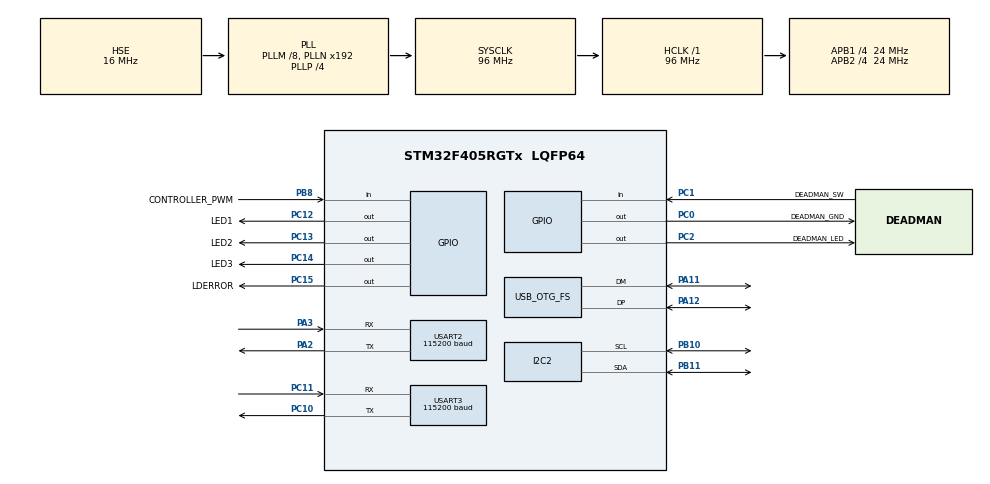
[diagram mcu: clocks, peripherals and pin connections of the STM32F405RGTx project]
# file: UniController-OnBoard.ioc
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Mcu.Family=STM32F4
Mcu.Name=STM32F405RGTx
Mcu.Package=LQFP64
NVIC.OTG_FS_IRQn=true\:0\:0\:false\:false\:true\:false\:true\:true
NVIC.PriorityGroup=NVIC_PRIORITYGROUP_4
NVIC.TIM1_UP_TIM10_IRQn=true\:0\:0\:false\:false\:true\:true\:true\:true
NVIC.TIM2_IRQn=true\:0\:0\:false\:false\:true\:true\:true\:true
NVIC.USART2_IRQn=true\:0\:0\:false\:false\:true\:true\:true\:true
NVIC.USART3_IRQn=true\:0\:0\:false\:false\:true\:true\:true\:true
PA11.Mode=Device_Only
PA11.Signal=USB_OTG_FS_DM
PA12.Mode=Device_Only
PA12.Signal=USB_OTG_FS_DP
PA2.Mode=Asynchronous
PA2.Signal=USART2_TX
PA3.Mode=Asynchronous
PA3.Signal=USART2_RX
PB10.Mode=I2C
PB10.Signal=I2C2_SCL
PB11.Mode=I2C
PB11.Signal=I2C2_SDA
PB8.GPIO_Label=CONTROLLER_PWM
PB8.GPIO_PuPd=GPIO_PULLDOWN
PB8.Signal=GPIO_Input
PC0.GPIO_Label=DEADMAN_GND
PC0.Signal=GPIO_Output
PC1.GPIO_Label=DEADMAN_SW
PC1.GPIO_PuPd=GPIO_PULLUP
PC1.Signal=GPIO_Input
PC10.Mode=Asynchronous
PC10.Signal=USART3_TX
PC11.Mode=Asynchronous
PC11.Signal=USART3_RX
PC12.GPIO_Label=LED1
PC12.Signal=GPIO_Output
PC13-ANTI_TAMP.GPIO_Label=LED2
PC13-ANTI_TAMP.Signal=GPIO_Output
PC14-OSC32_IN.GPIO_Label=LED3
PC14-OSC32_IN.Signal=GPIO_Output
PC15-OSC32_OUT.GPIO_Label=LDERROR
PC15-OSC32_OUT.Signal=GPIO_Output
PC2.GPIO_Label=DEADMAN_LED
PC2.Signal=GPIO_Output
PH0-OSC_IN.Mode=HSE-External-Oscillator
PH0-OSC_IN.Signal=RCC_OSC_IN
PH1-OSC_OUT.Mode=HSE-External-Oscillator
PH1-OSC_OUT.Signal=RCC_OSC_OUT
ProjectManager.HeapSize=0x200
ProjectManager.StackSize=0x400
ProjectManager.TargetToolchain=STM32CubeIDE
RCC.48MHZClocksFreq_Value=48000000
RCC.AHBFreq_Value=96000000
RCC.APB1CLKDivider=RCC_HCLK_DIV4
RCC.APB1Freq_Value=24000000
RCC.APB1TimFreq_Value=48000000
RCC.APB2CLKDivider=RCC_HCLK_DIV4
RCC.APB2Freq_Value=24000000
RCC.APB2TimFreq_Value=48000000
RCC.CortexFreq_Value=96000000
RCC.HCLKFreq_Value=96000000
RCC.HSE_VALUE=16000000
RCC.HSI_VALUE=16000000
RCC.LSE_VALUE=32768
RCC.PLLM=8
RCC.PLLP=RCC_PLLP_DIV4
RCC.PLLQ=8
RCC.SYSCLKFreq_VALUE=96000000
RCC.SYSCLKSource=RCC_SYSCLKSOURCE_PLLCLK
RCC.VCOOutputFreq_Value=384000000
TIM1.AutoReloadPreload=TIM_AUTORELOAD_PRELOAD_ENABLE
TIM1.Period=1000-1
TIM1.Prescaler=48
TIM2.AutoReloadPreload=TIM_AUTORELOAD_PRELOAD_ENABLE
TIM2.Period=100-1
TIM2.Prescaler=48
USART2.BaudRate=115200
USART2.OverSampling=UART_OVERSAMPLING_8
USART2.Parity=PARITY_NONE
USART2.VirtualMode=VM_ASYNC
USART2.WordLength=WORDLENGTH_8B
USART3.BaudRate=115200
USART3.OverSampling=UART_OVERSAMPLING_8
USART3.Parity=PARITY_NONE
USART3.VirtualMode=VM_ASYNC
USART3.WordLength=WORDLENGTH_8B
USB_DEVICE.CLASS_NAME_FS=CDC
USB_DEVICE.VirtualMode-CDC_FS=Cdc
USB_DEVICE.VirtualModeFS=Cdc_FS
USB_OTG_FS.VirtualMode=Device_Only
VP_TIM1_VS_ClockSourceINT.Mode=Internal
VP_TIM2_VS_ClockSourceINT.Mode=Internal
VP_USB_DEVICE_VS_USB_DEVICE_CDC_FS.Mode=CDC_FS
board=custom

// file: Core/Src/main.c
/* USER CODE BEGIN Header */
/**
  ******************************************************************************
  * @file           : main.c
  * @brief          : Main program body
  ******************************************************************************
  * @attention
  *
  * Copyright (c) 2023 STMicroelectronics.
  * All rights reserved.
  *
  * This software is licensed under terms that can be found in the LICENSE file
  * in the root directory of this software component.
  * If no LICENSE file comes with this software, it is provided AS-IS.
  *
  ******************************************************************************
  */
/* USER CODE END Header */
#include "main.h"
#include "usb_device.h"

/* USER CODE BEGIN Includes */

#include "usbd_cdc_if.h"

#include <stdbool.h>
#include <stdio.h>
#include <math.h>

#include "vesc_com.h"
#include "vesc_current_reg.h"
#include "queue.h"
#include "ctrl/common.h"
#include "ctrl/regulator.h"
#include "ctrl/kalman_filter.h"
// #include "buf.h"

/* USER CODE END Includes */

I2C_HandleTypeDef hi2c2;

TIM_HandleTypeDef htim1;
TIM_HandleTypeDef htim2;

UART_HandleTypeDef huart2;
UART_HandleTypeDef huart3;

/* USER CODE BEGIN PV */

#define TIM_REALTIME htim1
#define TIM_SCHEDULER htim2

#define UART_VESC_PITCH huart2
#define UART_IRQ_VESC_PITCH USART2_IRQn

#define UART_VESC_ROLL huart3
#define UART_IRQ_VESC_ROLL USART3_IRQn

// #define UART_VESC_ROLL huart3
#define I2C_MPU hi2c2

uint16_t MPU_ADDR = 0x68;

/* USER CODE END PV */

void SystemClock_Config(void);
static void MX_GPIO_Init(void);
static void MX_USART2_UART_Init(void);
static void MX_I2C2_Init(void);
static void MX_TIM1_Init(void);
static void MX_TIM2_Init(void);
static void MX_USART3_UART_Init(void);
/* USER CODE BEGIN PFP */

void dead_mans_switch_update_led();

/* USER CODE END PFP */

/* USER CODE BEGIN 0 */

static Queue MAIN_QUEUE;

#define VESC_PITCH_ID 1
#define VESC_ROLL_ID 2

static VESC vesc_pitch;
static VESC vesc_roll;

VESC_Current_Reg vcr_pitch = (VESC_Current_Reg) {
	.k_p = 1.,
};
VESC_Current_Reg vcr_roll = (VESC_Current_Reg) {
	.k_p = 0.1,
};

uint32_t ms_counter;

// All in Hz
#define SCHEDULER_FREQ 10000

#define ACC_FREQ 100
#define VESC_FREQ 50
#define DUMP_FREQ 100
#define STEP_FREQ 100

// (will take many hours to overflow)
uint32_t scheduler_ctr = 0;

float controller_lp_tau = 0.3;
float controller_val_pitch = 0;

void HAL_TIM_PeriodElapsedCallback(TIM_HandleTypeDef *htim) {
	if (htim == &TIM_REALTIME) { // TIM_REALTIME ticks once every us, elapses once every ms
		ms_counter++;
		dead_mans_switch_update_led();
	}
	if (htim == &TIM_SCHEDULER ) {
		scheduler_ctr++;

		if (scheduler_ctr % (SCHEDULER_FREQ / ACC_FREQ) == 0) {
			queue_put(&MAIN_QUEUE, (Message) { .ty = MSG_REQ_ACC });
		}
		if (scheduler_ctr % (SCHEDULER_FREQ / VESC_FREQ) == 0) {
			queue_put(&MAIN_QUEUE, (Message) { .ty = MSG_REQ_VESC });
			queue_put(&MAIN_QUEUE, (Message) { .ty = MSG_FLUSH_VESC });
		}
		if (scheduler_ctr % (SCHEDULER_FREQ / DUMP_FREQ) == 0) {
			queue_put(&MAIN_QUEUE, (Message) { .ty = MSG_SEND_DEBUG });
		}
		if (scheduler_ctr % (SCHEDULER_FREQ / STEP_FREQ) == 0) {
			queue_put(&MAIN_QUEUE, (Message) { .ty = MSG_TIME_STEP });
		}

		float controller_val_instant = HAL_GPIO_ReadPin(CONTROLLER_PWM_GPIO_Port, CONTROLLER_PWM_Pin);
		controller_val_pitch = (1 - 1 / (controller_lp_tau * SCHEDULER_FREQ)) * controller_val_pitch
				+ (1 / (controller_lp_tau * SCHEDULER_FREQ)) * controller_val_instant;
	}
}

float controller_mapped() {
	if (controller_val_pitch < 0.04) {
		return 0;
	}
	return (controller_val_pitch - 0.1) / (0.033333);
}

// This will overflow after 2^32/10^6s ≈ 4300s ≈ 1h11m
// Overflow should be handled by the get_dt and reset_dt
uint32_t us_since_startup() {
	uint32_t us_counter = ms_counter * 1000;
	uint32_t us_timer = TIM_REALTIME.Instance->CNT;
	return us_counter + us_timer;
}

uint32_t last_step = 0;
uint32_t get_and_reset_dt_us() {
	uint32_t now = us_since_startup();
	uint32_t dt = now - last_step; // If now < last_step, then we have overflowed. This should still get the right value
	last_step = now;
	return dt;
}

void HAL_UART_TxCpltCallback(UART_HandleTypeDef *huart) {
	if (huart == &UART_VESC_PITCH) {
		vesc_uart_cb_txcplt(&vesc_pitch, huart);
	}
	if (huart == &UART_VESC_ROLL) {
		vesc_uart_cb_txcplt(&vesc_roll, huart);
	}
}

void HAL_UART_RxCpltCallback(UART_HandleTypeDef *huart) {
	if (huart == &UART_VESC_PITCH) {
		vesc_uart_cb_rxcplt(&vesc_pitch, huart);
	}
	if (huart == &UART_VESC_ROLL) {
		vesc_uart_cb_rxcplt(&vesc_roll, huart);
	}
}

int uart_error_count_pitch = 0;
int uart_error_count_roll = 0;

void HAL_UART_ErrorCallback(UART_HandleTypeDef *huart) {
	char *errname = NULL;
	if (huart->ErrorCode & HAL_UART_ERROR_PE) {
		errname = "ERR PARITY\r\n";
	}
	if (huart->ErrorCode & HAL_UART_ERROR_NE) {
		errname = "ERR NOISE\r\n";
	}
	if (huart->ErrorCode & HAL_UART_ERROR_FE) {
		errname = "ERR FRAME\r\n";
	}
	if (huart->ErrorCode & HAL_UART_ERROR_ORE) {
		errname = "ERR OVERRUN\r\n";
	}
	if (huart->ErrorCode & HAL_UART_ERROR_DMA) {
		errname = "ERR DMA\r\n";
	}
	if (errname != NULL) {
		CDC_Transmit_FS((uint8_t *) errname, strlen(errname));
	}

	if (huart == &UART_VESC_PITCH) {

		uart_error_count_pitch++;
		vesc_pitch.cooldown = 1;

		HAL_UART_Abort_IT(&UART_VESC_PITCH);
		__HAL_UART_CLEAR_OREFLAG(&UART_VESC_PITCH);

		vesc_pitch.tx_waiting = false;
		vesc_pitch.rx_queued = false;
	}
	if (huart == &UART_VESC_ROLL) {
		uart_error_count_roll++;
		vesc_roll.cooldown = 1;

		HAL_UART_Abort_IT(&UART_VESC_ROLL);
		__HAL_UART_CLEAR_OREFLAG(&UART_VESC_ROLL);

		vesc_roll.tx_waiting = false;
		vesc_roll.rx_queued = false;
	}
	// abort_vesc();
}

void abort_vesc() {
	HAL_UART_Abort_IT(&UART_VESC_PITCH);
	vesc_pitch.tx_waiting = false;
	vesc_pitch.rx_queued = false;

	HAL_UART_Abort_IT(&UART_VESC_ROLL);
	vesc_roll.tx_waiting = false;
	vesc_roll.rx_queued = false;
/*
	vesc_start_recv(&vesc_pitch);
	vesc_start_recv(&vesc_roll);
*/
}

bool dead_mans_switch_activated() {
	HAL_GPIO_WritePin(DEADMAN_GND_GPIO_Port, DEADMAN_GND_Pin, GPIO_PIN_RESET);
	return HAL_GPIO_ReadPin(DEADMAN_SW_GPIO_Port, DEADMAN_SW_Pin) == GPIO_PIN_RESET;
}

// QRV
const bool morse_table[] = {
	1, 1, 1, 0, 1, 1, 1, 0, 1, 0, 1, 1, 0, 0, 0,
	1, 0, 1, 1, 1, 0, 1, 1, 1, 0, 0, 0,
	1, 0, 1, 0, 1, 0, 1, 1, 1, 0, 0, 0,
	0, 0, 0, 0, 0
};

void dead_mans_switch_update_led() {
	// bool blink_on = (ms_counter % 600 < 300) && ((ms_counter & 3) == 1);
	bool blink_on = morse_table[(ms_counter / 83) % sizeof(morse_table)];
	blink_on &= (ms_counter & 3) == 1;
	blink_on |= dead_mans_switch_activated();

	HAL_GPIO_WritePin(DEADMAN_LED_GPIO_Port, DEADMAN_LED_Pin, blink_on ? GPIO_PIN_SET : GPIO_PIN_RESET);
}

#define I2C_TIMEOUT 20

#define ACC_SANITY 40

// Puts the MPU6050 into active mode, with the appropriate CFGs from main.h set
void setup_mpu(I2C_HandleTypeDef *i2c, uint16_t acc_addr) {
	uint8_t pwr_mgnt_data[1] = {0x00}; // sleep = 0, cycle = 0
	HAL_I2C_Mem_Write(i2c, acc_addr << 1, 0x6b, 1, pwr_mgnt_data, 1, I2C_TIMEOUT); // Disable sleep

	uint8_t config[1] = {(0x0 << 3) | DLPF_CFG}; // fsync = 0, dlpf = 6 (5Hz)
	HAL_I2C_Mem_Write(i2c, acc_addr << 1, 0x1a, 1, config, 1, I2C_TIMEOUT);

	uint8_t gyro_config[1] = {(0x0 << 5) | (GYRO_FS_CFG << 3)}; // no self-test
	HAL_I2C_Mem_Write(i2c, acc_addr << 1, 0x1b, 1, gyro_config, 1, I2C_TIMEOUT);

	uint8_t acc_config[1] = {(0x0 << 5) | (ACC_FS_CFG << 3)}; // no self-test
	HAL_I2C_Mem_Write(i2c, acc_addr << 1, 0x1c, 1, acc_config, 1, I2C_TIMEOUT);
}

// TODO: Do this with interrupt
AccData get_accelerometer_data(I2C_HandleTypeDef *i2c, uint16_t acc_addr) {
	// 0x43 = gyro_xout_h
	// 0x44 = gyro_xout_
	uint8_t gyro_data[6] = {0x69, 0x69, 0x69, 0x69, 0x69, 0x69};

	if (HAL_I2C_Mem_Read(&hi2c2, acc_addr << 1, 0x43, 1, gyro_data, 6, I2C_TIMEOUT) == HAL_ERROR) {
		return (AccData) { .success = false };
	}

	int16_t gx_i = (int16_t) ((gyro_data[0] << 8) | gyro_data[1]);
	int16_t gy_i = (int16_t) ((gyro_data[2] << 8) | gyro_data[3]);
	int16_t gz_i = (int16_t) ((gyro_data[4] << 8) | gyro_data[5]);
	float gx = gx_i * (GYRO_FS / (1<<15));
	float gy = gy_i * (GYRO_FS / (1<<15));
	float gz = gz_i * (GYRO_FS / (1<<15));

	uint8_t acc_data[6] = {0x69, 0x69, 0x69, 0x69, 0x69, 0x69};
	if (HAL_I2C_Mem_Read(&hi2c2, acc_addr << 1, 0x3b, 1, acc_data, 6, I2C_TIMEOUT) == HAL_ERROR) {
		return (AccData) { .success = false };
	}
	int16_t ax_i = (int16_t) ((acc_data[0] << 8) | acc_data[1]);
	int16_t ay_i = (int16_t) ((acc_data[2] << 8) | acc_data[3]);
	int16_t az_i = (int16_t) ((acc_data[4] << 8) | acc_data[5]);
	float ax = ax_i * (ACC_FS / (1<<15));
	float ay = ay_i * (ACC_FS / (1<<15));
	float az = az_i * (ACC_FS / (1<<15));

	// Compensate for zero point and scale
    float az_mid = (13.45 + -6.7) / 2;
    float az_range = (13.45 - -6.7) / 2;
    float ay_mid = (9.6 + -10.1) / 2;
    float ay_range = (9.6 - -10.1) / 2;

    float az_adj = (az - az_mid) / az_range * 9.82;
    float ay_adj = (ay - ay_mid) / ay_range * 9.82;

    // Calibration constants
    gx += 0.034;
    gy -= 0.023;
    gz -= 0.002;

	return (AccData) {
		.success = true,
		.gx = gx, .gy = gy, .gz = gz,
		.ax = ax, .ay = ay, .az = az
	};
}

struct {
	EscData last_esc_pitch;
	EscData last_esc_roll;

	AccData last_acc;

	States st;
	Matrix q_w, q_t;
	Covariances covs;
	R_error r_vals;

} CTRL;

#define PITCH_WHEEL_RAD (0.28)

// For complementary filter
float roll_angle = 0.;
float pitch_angle = 0.;
float pitch_ground_speed = 0.;

float complementary_filter_gain = 1.;
float complementary_filter_gain_speed = 4.;

PitchRegulator pitch_reg = (PitchRegulator) {
	.setpoint_speed = 0.,
	.setpoint_theta_0 = -0.022,
	.kp1 = 36,
	.kd1 = 4,

	.kp2 = 0.15,
};

RollRegulator roll_reg = (RollRegulator) {
	.setpoint_theta_0 = -0.010,

	.kp1 = -80,
	.kd1 = -70,

	.kp2 = 0.0006,
};

#define MOTOR_CW 0
#define MOTOR_CCW 1

#define MOTOR_DIRECTION_PITCH MOTOR_CCW
#define MOTOR_DIRECTION_ROLL MOTOR_CW

// #define QUEUE_DEBUG

/* USER CODE END 0 */

int main(void)
{
  /* USER CODE BEGIN 1 */

	char dbgbuf[500];

  /* USER CODE END 1 */

  /* MCU Configuration--------------------------------------------------------*/

  /* Reset of all peripherals, Initializes the Flash interface and the Systick. */
  HAL_Init();

  /* Configure the system clock */
  SystemClock_Config();

  /* Initialize all configured peripherals */
  MX_GPIO_Init();
  MX_USART2_UART_Init();
  MX_I2C2_Init();
  MX_USB_DEVICE_Init();
  MX_TIM1_Init();
  MX_TIM2_Init();
  MX_USART3_UART_Init();
  /* USER CODE BEGIN 2 */

	HAL_GPIO_WritePin(LED2_GPIO_Port, LED2_Pin, SET);
	HAL_Delay(500);
    HAL_GPIO_WritePin(LED3_GPIO_Port, LED3_Pin, SET);
	HAL_Delay(500);
    HAL_GPIO_WritePin(LDERROR_GPIO_Port, LDERROR_Pin, SET);
	HAL_Delay(500);
  	HAL_GPIO_WritePin(LED2_GPIO_Port, LED2_Pin, RESET);
	HAL_Delay(500);
    HAL_GPIO_WritePin(LED3_GPIO_Port, LED3_Pin, RESET);
  	HAL_Delay(500);
    HAL_GPIO_WritePin(LDERROR_GPIO_Port, LDERROR_Pin, RESET);

  	char *msg = "\r\nhiiii we are started :3\r\n\r\n";
	CDC_Transmit_FS((uint8_t *) msg, strlen(msg));

	queue_init(&MAIN_QUEUE);

	HAL_TIM_Base_Start_IT(&TIM_REALTIME);
	HAL_TIM_Base_Start_IT(&TIM_SCHEDULER);

	vesc_init(&vesc_pitch, VESC_PITCH_ID, &UART_VESC_PITCH, UART_IRQ_VESC_PITCH, &MAIN_QUEUE);
	vesc_init(&vesc_roll, VESC_ROLL_ID, &UART_VESC_ROLL, UART_IRQ_VESC_ROLL, &MAIN_QUEUE);

	setup_mpu(&I2C_MPU, MPU_ADDR);

	struct {
		float dt;
		float current_wanted_pitch, current_out_pitch;
		float current_wanted_roll, current_out_roll;
		float setpoint_theta;

		float wheel_pos_d;
		float pitch_rpm, roll_rpm;
		unsigned int msgs_since_last;

		int msg_idx, n_time_steps_since_last;
	} dbg_values;

	dbg_values.msgs_since_last = 0;
	dbg_values.msg_idx = 0;
	dbg_values.n_time_steps_since_last = 0;

	// For Kalman + control system

	CTRL.covs = (Covariances) {.pitch.m11 = 10.0, .pitch.m12 = 0.0, .pitch.m21 = 10.0, .pitch.m22 = 0.0,
	                      .roll.m11 = 10.0, .roll.m12 = 0.0, .roll.m21 = 10.0, .roll.m22 = 0.0,
	                      .wheel.m11 = 10.0, .wheel.m12 = 0.0, .wheel.m21 = 0.0, .wheel.m22 = 10.0};

	//Measurement error
	CTRL.r_vals = (R_error) {.pitch = 0.3, .roll = 0.3, .wheel = 20};

	CTRL.st = (States) { .x1 = 0, .x2 = 0, .x3 = 0, .x4 = 0 };

	queue_put(&MAIN_QUEUE, (Message) { .ty = MSG_SEND_DEBUG });

  /* USER CODE END 2 */

  /* Infinite loop */
  while (1)
  {

    /* USER CODE BEGIN 3 */

		if (!queue_has(&MAIN_QUEUE)) {
			continue;
		}

		Message msg = queue_pop(&MAIN_QUEUE);
		dbg_values.msgs_since_last++;

		switch (msg.ty) {
		case MSG_NONE:
			break;

		case MSG_SEND_DEBUG: {

			bool dead_mans = dead_mans_switch_activated();

			int dbglen = sprintf(
				dbgbuf,
				"msg = %4d, nerr = %4dp/%4dr, time steps = %4d, qsz = %4d, switch = %s, t = %8lu ms, "
				//"kp1 = %7.4f, kd1 = %7.4f, kp2 = %7.4f, setpoint_theta_0 = %7.4f, "
				"ax = %7.4f, ay = %7.4f, az = %7.4f, "
				"gx = %7.4f rad/s, gy = %7.4f rad/s, gz = %7.4f rad/s, "
				"rpm_pitch = %7.4f, rpm_roll = %7.4f, "
				"I_w_pitch = %7.4f A, I_w_roll = %7.4f A, "
				"theta_pitch = %7.5fmrad, "
				"theta_roll_comp = %7.4f mrad, "
				"ground_speed = %7.4f mm/s, "
				"theta_setpoint = %7.4f mrad, "
				"ctrl duty = %7.4f%%, ctrl amount = %7.4f "
				//"I (filtered) = %6ld mA, I (out) = %6ld mA"
				"\r\n",
				dbg_values.msg_idx, uart_error_count_pitch, uart_error_count_roll, dbg_values.n_time_steps_since_last, queue_nelem(&MAIN_QUEUE), dead_mans ? "on" : "off", (int32_t) (us_since_startup() / 1000),
				//roll_reg.kp1, roll_reg.kd1, roll_reg.kp2, roll_reg.setpoint_theta_0,
				CTRL.last_acc.ax, CTRL.last_acc.ay, CTRL.last_acc.az,
				CTRL.last_acc.gx, CTRL.last_acc.gy, CTRL.last_acc.gz,
				dbg_values.pitch_rpm, dbg_values.roll_rpm,
				dbg_values.current_wanted_pitch, dbg_values.current_wanted_roll,
				1000 * pitch_angle,
				// 1000 * CTRL.st.x5, 1000 * CTRL.st.x6
				1000 * roll_angle,
				pitch_ground_speed * 1000,
				1000 * dbg_values.setpoint_theta,
				100 * controller_val_pitch, controller_mapped()
				//(int32_t) (1000 * vcr.input_filtered), (int32_t) (1000 * dbg_values.current_o)
			);

			CDC_Transmit_FS((uint8_t *) dbgbuf, dbglen);

			dbg_values.msg_idx++;
			dbg_values.n_time_steps_since_last = 0;

			// Use below if you are debug printing other things
			// HAL_UART_Transmit(&huart3, (uint8_t *) dbgbuf, dbglen, 10000);

			break;
		}

		case MSG_TIME_STEP: {
			uint32_t dt_us = get_and_reset_dt_us();
			float dt = (float) dt_us / 1000000.0;

#ifdef QUEUE_DEBUG
			int dbglen = sprintf(
				dbgbuf,
				"{Q: TIME_STEP by %7.5f}\r\n",
				dt
			);

			CDC_Transmit_FS((uint8_t *) dbgbuf, dbglen);
#endif

			dbg_values.dt = dt;

#if MOTOR_DIRECTION_PITCH == MOTOR_CW
			float wheel_rpm_pitch = CTRL.last_esc_pitch.erpm / -22.9;
#elif MOTOR_DIRECTION_PITCH == MOTOR_CCW
			float wheel_rpm_pitch = CTRL.last_esc_pitch.erpm / 22.9;
#else
#error "Invalid motor direction"
#endif

#if MOTOR_DIRECTION_ROLL == MOTOR_CW
			float wheel_rpm_roll = CTRL.last_esc_roll.erpm / -29.92;
#elif MOTOR_DIRECTION_ROLL == MOTOR_CCW
			float wheel_rpm_roll = CTRL.last_esc_roll.erpm / 29.92;
#else
#error "Invalid motor direction"
#endif

			dbg_values.pitch_rpm = wheel_rpm_pitch;
			dbg_values.roll_rpm = wheel_rpm_roll;

			float ground_speed_pitch_lf = wheel_rpm_pitch / 60 * 6.28 * PITCH_WHEEL_RAD;
			float ground_acc_hf = CTRL.last_acc.gy;

			pitch_ground_speed = (1 - dt * complementary_filter_gain_speed) * pitch_ground_speed + dt * ground_acc_hf + dt * complementary_filter_gain_speed * ground_speed_pitch_lf;

			float sensor_gyro_pitch = CTRL.last_acc.gy;
			float sensor_gyro_roll = CTRL.last_acc.gx;

			float acc_predicted_angle_pitch = -atan2(CTRL.last_acc.ax, CTRL.last_acc.az);
			float acc_predicted_angle_roll = atan2(CTRL.last_acc.ay, CTRL.last_acc.az);

			// Sanity check: sometimes the accelerometer gives bogus values, we shouldn't ever go over 1 radian in angle
			if (fabs(acc_predicted_angle_pitch) > 1 || fabs(acc_predicted_angle_roll) > 1) {
				acc_predicted_angle_pitch = pitch_angle;
				acc_predicted_angle_roll = roll_angle;
			}

			float dgain = complementary_filter_gain * dt;
			roll_angle = (1 - dgain) * roll_angle + dt * sensor_gyro_roll + dgain * acc_predicted_angle_roll;
			pitch_angle = (1 - dgain) * pitch_angle + dt * sensor_gyro_pitch + dgain * acc_predicted_angle_pitch;

			dbg_values.setpoint_theta = roll_reg_setpoint_theta(&roll_reg, dt, roll_angle, sensor_gyro_roll, wheel_rpm_roll);

			pitch_reg.setpoint_speed = controller_mapped() * 0.2;

			float tau_pitch = pitch_reg_step(&pitch_reg, dt, pitch_angle, sensor_gyro_pitch, pitch_ground_speed);
			float tau_roll = roll_reg_step(&roll_reg, dt, roll_angle, sensor_gyro_roll, wheel_rpm_roll);

			float current_wanted_pitch = tau_pitch / 0.2;
			float current_wanted_roll = tau_roll / 0.2;

			dbg_values.current_wanted_pitch = current_wanted_pitch;
			dbg_values.current_wanted_roll = current_wanted_roll;

			float current_out_pitch, current_out_roll;
			if (dead_mans_switch_activated()) {
				vcr_pitch.setpoint = current_wanted_pitch;
				vcr_roll.setpoint = current_wanted_roll;

				current_out_pitch = vcr_step(&vcr_pitch, dt, CTRL.last_esc_pitch.current_motor);
				current_out_roll = vcr_step(&vcr_roll, dt, CTRL.last_esc_roll.current_motor);
			} else {
				vcr_pitch.input_filtered = 0;
				vcr_pitch.setpoint = 0;
				vcr_roll.input_filtered = 0;
				vcr_roll.setpoint = 0;

				current_out_pitch = 0;
			}

#if MOTOR_DIRECTION_PITCH == MOTOR_CW
			vesc_set_current(&vesc_pitch, -current_out_pitch);
#elif MOTOR_DIRECTION_PITCH == MOTOR_CCW
			vesc_set_current(&vesc_pitch, current_out_pitch);
#else
#error "Invalid motor direction"
#endif

#if MOTOR_DIRECTION_ROLL == MOTOR_CW
			vesc_set_current(&vesc_roll, -current_out_roll);
#elif MOTOR_DIRECTION_ROLL == MOTOR_CCW
			vesc_set_current(&vesc_roll, current_out_roll);
#else
#error "Invalid motor direction"
#endif

			dbg_values.n_time_steps_since_last++;

			break;
		}

		case MSG_FLUSH_VESC: {
#ifdef QUEUE_DEBUG
			int dbglen = sprintf(
				dbgbuf,
				"{Q: FLUSH VESC}\r\n"
			);

			CDC_Transmit_FS((uint8_t *) dbgbuf, dbglen);
#endif

			vesc_transmit_and_recv(&vesc_pitch);
			vesc_transmit_and_recv(&vesc_roll);
			break;
		}

		case MSG_VESC_UART_GOT_DATA: {
#ifdef QUEUE_DEBUG
			int dbglen = sprintf(
				dbgbuf,
				"{Q: UART_GOT_DATA}\r\n"
			);

			CDC_Transmit_FS((uint8_t *) dbgbuf, dbglen);
#endif

			if (msg.vesc_id == VESC_PITCH_ID) {
				vesc_got_data(&vesc_pitch);
			}
			if (msg.vesc_id == VESC_ROLL_ID) {
				vesc_got_data(&vesc_roll);
			}
			break;
		}

		case MSG_REQ_ACC: {
#ifdef QUEUE_DEBUG
			int dbglen = sprintf(
				dbgbuf,
				"{Q: REQ_ACC}\r\n"
			);

			CDC_Transmit_FS((uint8_t *) dbgbuf, dbglen);
#endif
			AccData acc_data = get_accelerometer_data(&hi2c2, MPU_ADDR);
			if (acc_data.success == false) {
				int dbglen = sprintf(
					dbgbuf,
					"[ACC I2C FAIL]\r\n"
				);

				CDC_Transmit_FS((uint8_t *) dbgbuf, dbglen);
			} else {
				queue_put(&MAIN_QUEUE, (Message) { .ty = MSG_GOT_ACC_DATA, .acc_data = acc_data });
			}

			break;

		}

		case MSG_REQ_VESC: {
#ifdef QUEUE_DEBUG
			int dbglen = sprintf(
				dbgbuf,
				"{Q: REQ_VESC}\r\n"
			);

			CDC_Transmit_FS((uint8_t *) dbgbuf, dbglen);
#endif

			vesc_request_data(&vesc_pitch);
			vesc_request_data(&vesc_roll);

			break;
		}
		case MSG_GOT_ACC_DATA: {
#ifdef QUEUE_DEBUG
			int dbglen = sprintf(
				dbgbuf,
				"{Q: GOT_ACC_DATA}\r\n"
			);

			CDC_Transmit_FS((uint8_t *) dbgbuf, dbglen);
#endif

			AccData acc_data = msg.acc_data;
			if (fabs(acc_data.ax) < ACC_SANITY && fabs(acc_data.ay) < ACC_SANITY && fabs(acc_data.az) < ACC_SANITY) {
				CTRL.last_acc = acc_data;
			}

			break;
		}

		case MSG_GOT_ESC_DATA: {
#ifdef QUEUE_DEBUG
			int dbglen = sprintf(
				dbgbuf,
				"{Q: GOT_ESC_DATA temp=%7.5f erpm=%7.5f}\r\n",
				msg.esc_data.temp_mos, msg.esc_data.erpm
			);

			CDC_Transmit_FS((uint8_t *) dbgbuf, dbglen);
#endif

			EscData esc_data = msg.esc_data;
			if (esc_data.vesc_id == VESC_PITCH_ID) {
				CTRL.last_esc_pitch = esc_data;
			}
			if (esc_data.vesc_id == VESC_ROLL_ID) {
				CTRL.last_esc_roll = esc_data;
			}

			break;
		}
		}
  }
  /* USER CODE END 3 */
}

void SystemClock_Config(void)
{
  RCC_OscInitTypeDef RCC_OscInitStruct = {0};
  RCC_ClkInitTypeDef RCC_ClkInitStruct = {0};

  /** Configure the main internal regulator output voltage
  */
  __HAL_RCC_PWR_CLK_ENABLE();
  __HAL_PWR_VOLTAGESCALING_CONFIG(PWR_REGULATOR_VOLTAGE_SCALE1);
  /** Initializes the RCC Oscillators according to the specified parameters
  * in the RCC_OscInitTypeDef structure.
  */
  RCC_OscInitStruct.OscillatorType = RCC_OSCILLATORTYPE_HSE;
  RCC_OscInitStruct.HSEState = RCC_HSE_ON;
  RCC_OscInitStruct.PLL.PLLState = RCC_PLL_ON;
  RCC_OscInitStruct.PLL.PLLSource = RCC_PLLSOURCE_HSE;
  RCC_OscInitStruct.PLL.PLLM = 8;
  RCC_OscInitStruct.PLL.PLLN = 192;
  RCC_OscInitStruct.PLL.PLLP = RCC_PLLP_DIV4;
  RCC_OscInitStruct.PLL.PLLQ = 8;
  if (HAL_RCC_OscConfig(&RCC_OscInitStruct) != HAL_OK)
  {
    Error_Handler();
  }
  /** Initializes the CPU, AHB and APB buses clocks
  */
  RCC_ClkInitStruct.ClockType = RCC_CLOCKTYPE_HCLK|RCC_CLOCKTYPE_SYSCLK
                              |RCC_CLOCKTYPE_PCLK1|RCC_CLOCKTYPE_PCLK2;
  RCC_ClkInitStruct.SYSCLKSource = RCC_SYSCLKSOURCE_PLLCLK;
  RCC_ClkInitStruct.AHBCLKDivider = RCC_SYSCLK_DIV1;
  RCC_ClkInitStruct.APB1CLKDivider = RCC_HCLK_DIV4;
  RCC_ClkInitStruct.APB2CLKDivider = RCC_HCLK_DIV4;

  if (HAL_RCC_ClockConfig(&RCC_ClkInitStruct, FLASH_LATENCY_3) != HAL_OK)
  {
    Error_Handler();
  }
}

static void MX_I2C2_Init(void)
{

  hi2c2.Instance = I2C2;
  hi2c2.Init.ClockSpeed = 100000;
  hi2c2.Init.DutyCycle = I2C_DUTYCYCLE_2;
  hi2c2.Init.OwnAddress1 = 0;
  hi2c2.Init.AddressingMode = I2C_ADDRESSINGMODE_7BIT;
  hi2c2.Init.DualAddressMode = I2C_DUALADDRESS_DISABLE;
  hi2c2.Init.OwnAddress2 = 0;
  hi2c2.Init.GeneralCallMode = I2C_GENERALCALL_DISABLE;
  hi2c2.Init.NoStretchMode = I2C_NOSTRETCH_DISABLE;
  if (HAL_I2C_Init(&hi2c2) != HAL_OK)
  {
    Error_Handler();
  }

}

static void MX_TIM1_Init(void)
{

  TIM_ClockConfigTypeDef sClockSourceConfig = {0};
  TIM_MasterConfigTypeDef sMasterConfig = {0};

  htim1.Instance = TIM1;
  htim1.Init.Prescaler = 48;
  htim1.Init.CounterMode = TIM_COUNTERMODE_UP;
  htim1.Init.Period = 1000-1;
  htim1.Init.ClockDivision = TIM_CLOCKDIVISION_DIV1;
  htim1.Init.RepetitionCounter = 0;
  htim1.Init.AutoReloadPreload = TIM_AUTORELOAD_PRELOAD_ENABLE;
  if (HAL_TIM_Base_Init(&htim1) != HAL_OK)
  {
    Error_Handler();
  }
  sClockSourceConfig.ClockSource = TIM_CLOCKSOURCE_INTERNAL;
  if (HAL_TIM_ConfigClockSource(&htim1, &sClockSourceConfig) != HAL_OK)
  {
    Error_Handler();
  }
  sMasterConfig.MasterOutputTrigger = TIM_TRGO_RESET;
  sMasterConfig.MasterSlaveMode = TIM_MASTERSLAVEMODE_DISABLE;
  if (HAL_TIMEx_MasterConfigSynchronization(&htim1, &sMasterConfig) != HAL_OK)
  {
    Error_Handler();
  }

}

static void MX_TIM2_Init(void)
{

  TIM_ClockConfigTypeDef sClockSourceConfig = {0};
  TIM_MasterConfigTypeDef sMasterConfig = {0};

  htim2.Instance = TIM2;
  htim2.Init.Prescaler = 48;
  htim2.Init.CounterMode = TIM_COUNTERMODE_UP;
  htim2.Init.Period = 100-1;
  htim2.Init.ClockDivision = TIM_CLOCKDIVISION_DIV1;
  htim2.Init.AutoReloadPreload = TIM_AUTORELOAD_PRELOAD_ENABLE;
  if (HAL_TIM_Base_Init(&htim2) != HAL_OK)
  {
    Error_Handler();
  }
  sClockSourceConfig.ClockSource = TIM_CLOCKSOURCE_INTERNAL;
  if (HAL_TIM_ConfigClockSource(&htim2, &sClockSourceConfig) != HAL_OK)
  {
    Error_Handler();
  }
  sMasterConfig.MasterOutputTrigger = TIM_TRGO_RESET;
  sMasterConfig.MasterSlaveMode = TIM_MASTERSLAVEMODE_DISABLE;
  if (HAL_TIMEx_MasterConfigSynchronization(&htim2, &sMasterConfig) != HAL_OK)
  {
    Error_Handler();
  }

}

static void MX_USART2_UART_Init(void)
{

  huart2.Instance = USART2;
  huart2.Init.BaudRate = 115200;
  huart2.Init.WordLength = UART_WORDLENGTH_8B;
  huart2.Init.StopBits = UART_STOPBITS_1;
  huart2.Init.Parity = UART_PARITY_NONE;
  huart2.Init.Mode = UART_MODE_TX_RX;
  huart2.Init.HwFlowCtl = UART_HWCONTROL_NONE;
  huart2.Init.OverSampling = UART_OVERSAMPLING_8;
  if (HAL_UART_Init(&huart2) != HAL_OK)
  {
    Error_Handler();
  }

}

static void MX_USART3_UART_Init(void)
{

  huart3.Instance = USART3;
  huart3.Init.BaudRate = 115200;
  huart3.Init.WordLength = UART_WORDLENGTH_8B;
  huart3.Init.StopBits = UART_STOPBITS_1;
  huart3.Init.Parity = UART_PARITY_NONE;
  huart3.Init.Mode = UART_MODE_TX_RX;
  huart3.Init.HwFlowCtl = UART_HWCONTROL_NONE;
  huart3.Init.OverSampling = UART_OVERSAMPLING_8;
  if (HAL_UART_Init(&huart3) != HAL_OK)
  {
    Error_Handler();
  }

}

static void MX_GPIO_Init(void)
{
  GPIO_InitTypeDef GPIO_InitStruct = {0};

  /* GPIO Ports Clock Enable */
  __HAL_RCC_GPIOC_CLK_ENABLE();
  __HAL_RCC_GPIOH_CLK_ENABLE();
  __HAL_RCC_GPIOA_CLK_ENABLE();
  __HAL_RCC_GPIOB_CLK_ENABLE();

  /*Configure GPIO pin Output Level */
  HAL_GPIO_WritePin(GPIOC, LED2_Pin|LED3_Pin|LDERROR_Pin|DEADMAN_GND_Pin
                          |DEADMAN_LED_Pin|LED1_Pin, GPIO_PIN_RESET);

  /*Configure GPIO pins : LED2_Pin LED3_Pin LDERROR_Pin DEADMAN_GND_Pin
                           DEADMAN_LED_Pin LED1_Pin */
  GPIO_InitStruct.Pin = LED2_Pin|LED3_Pin|LDERROR_Pin|DEADMAN_GND_Pin
                          |DEADMAN_LED_Pin|LED1_Pin;
  GPIO_InitStruct.Mode = GPIO_MODE_OUTPUT_PP;
  GPIO_InitStruct.Pull = GPIO_NOPULL;
  GPIO_InitStruct.Speed = GPIO_SPEED_FREQ_LOW;
  HAL_GPIO_Init(GPIOC, &GPIO_InitStruct);

  /*Configure GPIO pin : DEADMAN_SW_Pin */
  GPIO_InitStruct.Pin = DEADMAN_SW_Pin;
  GPIO_InitStruct.Mode = GPIO_MODE_INPUT;
  GPIO_InitStruct.Pull = GPIO_PULLUP;
  HAL_GPIO_Init(DEADMAN_SW_GPIO_Port, &GPIO_InitStruct);

  /*Configure GPIO pin : CONTROLLER_PWM_Pin */
  GPIO_InitStruct.Pin = CONTROLLER_PWM_Pin;
  GPIO_InitStruct.Mode = GPIO_MODE_INPUT;
  GPIO_InitStruct.Pull = GPIO_PULLDOWN;
  HAL_GPIO_Init(CONTROLLER_PWM_GPIO_Port, &GPIO_InitStruct);

}

void Error_Handler(void)
{
  __disable_irq();
  while (1)
  {
  }
}
